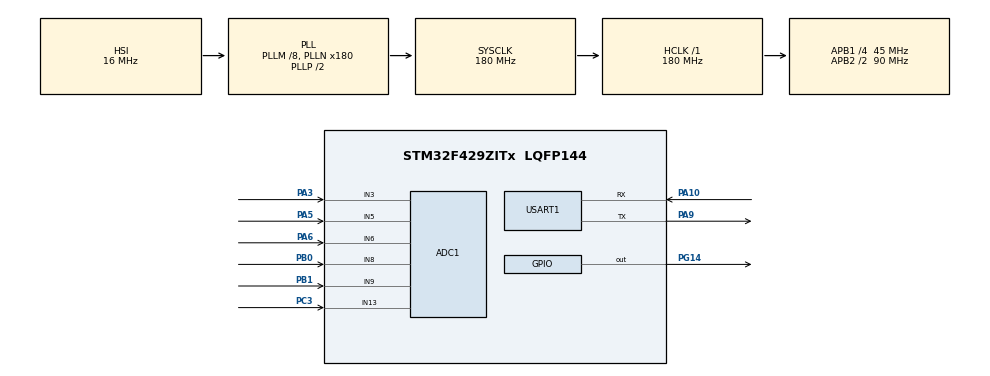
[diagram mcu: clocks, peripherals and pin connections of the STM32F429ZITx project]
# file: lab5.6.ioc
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ADC1.Channel-4\#ChannelRegularConversion=ADC_CHANNEL_8
ADC1.Channel-5\#ChannelRegularConversion=ADC_CHANNEL_9
ADC1.Channel-6\#ChannelRegularConversion=ADC_CHANNEL_6
ADC1.Channel-7\#ChannelRegularConversion=ADC_CHANNEL_5
ADC1.Channel-8\#ChannelRegularConversion=ADC_CHANNEL_3
ADC1.Channel-9\#ChannelRegularConversion=ADC_CHANNEL_13
ADC1.ClockPrescaler=ADC_CLOCK_SYNC_PCLK_DIV8
ADC1.ContinuousConvMode=DISABLE
ADC1.DMAContinuousRequests=ENABLE
ADC1.NbrOfConversion=6
ADC1.NbrOfConversionFlag=1
ADC1.Rank-4\#ChannelRegularConversion=1
ADC1.Rank-5\#ChannelRegularConversion=2
ADC1.Rank-6\#ChannelRegularConversion=3
ADC1.Rank-7\#ChannelRegularConversion=4
ADC1.Rank-8\#ChannelRegularConversion=5
ADC1.Rank-9\#ChannelRegularConversion=6
ADC1.SamplingTime-4\#ChannelRegularConversion=ADC_SAMPLETIME_15CYCLES
ADC1.SamplingTime-5\#ChannelRegularConversion=ADC_SAMPLETIME_15CYCLES
ADC1.SamplingTime-6\#ChannelRegularConversion=ADC_SAMPLETIME_15CYCLES
ADC1.SamplingTime-7\#ChannelRegularConversion=ADC_SAMPLETIME_15CYCLES
ADC1.SamplingTime-8\#ChannelRegularConversion=ADC_SAMPLETIME_15CYCLES
ADC1.SamplingTime-9\#ChannelRegularConversion=ADC_SAMPLETIME_15CYCLES
ADC1.master=1
Dma.ADC1.0.Direction=DMA_PERIPH_TO_MEMORY
Dma.ADC1.0.FIFOMode=DMA_FIFOMODE_DISABLE
Dma.ADC1.0.Instance=DMA2_Stream0
Dma.ADC1.0.MemDataAlignment=DMA_MDATAALIGN_WORD
Dma.ADC1.0.MemInc=DMA_MINC_ENABLE
Dma.ADC1.0.Mode=DMA_CIRCULAR
Dma.ADC1.0.PeriphDataAlignment=DMA_PDATAALIGN_WORD
Dma.ADC1.0.PeriphInc=DMA_PINC_DISABLE
Dma.ADC1.0.Priority=DMA_PRIORITY_LOW
Dma.Request0=ADC1
Mcu.Family=STM32F4
Mcu.Name=STM32F429ZITx
Mcu.Package=LQFP144
NVIC.DMA2_Stream0_IRQn=true\:1\:0\:true\:false\:true\:false\:true
NVIC.PriorityGroup=NVIC_PRIORITYGROUP_2
PA10.Mode=Asynchronous
PA10.Signal=USART1_RX
PA3.Signal=ADCx_IN3
PA5.Signal=ADCx_IN5
PA6.Signal=ADCx_IN6
PA9.Mode=Asynchronous
PA9.Signal=USART1_TX
PB0.Signal=ADCx_IN8
PB1.Signal=ADCx_IN9
PC3.Signal=ADCx_IN13
PG14.Signal=GPIO_Output
ProjectManager.HeapSize=0x200
ProjectManager.StackSize=0x400
ProjectManager.TargetToolchain=STM32CubeIDE
RCC.48MHZClocksFreq_Value=90000000
RCC.AHBFreq_Value=180000000
RCC.APB1CLKDivider=RCC_HCLK_DIV4
RCC.APB1Freq_Value=45000000
RCC.APB1TimFreq_Value=90000000
RCC.APB2CLKDivider=RCC_HCLK_DIV2
RCC.APB2Freq_Value=90000000
RCC.APB2TimFreq_Value=180000000
RCC.CortexFreq_Value=180000000
RCC.HCLKFreq_Value=180000000
RCC.HSE_VALUE=25000000
RCC.HSI_VALUE=16000000
RCC.LSE_VALUE=32768
RCC.PLLM=8
RCC.PLLN=180
RCC.SYSCLKFreq_VALUE=180000000
RCC.SYSCLKSource=RCC_SYSCLKSOURCE_PLLCLK
RCC.VCOOutputFreq_Value=360000000
SH.ADCx_IN13.0=ADC1_IN13,IN13
SH.ADCx_IN3.0=ADC1_IN3,IN3
SH.ADCx_IN5.0=ADC1_IN5,IN5
SH.ADCx_IN6.0=ADC1_IN6,IN6
SH.ADCx_IN8.0=ADC1_IN8,IN8
SH.ADCx_IN9.0=ADC1_IN9,IN9
USART1.VirtualMode=VM_ASYNC
board=custom

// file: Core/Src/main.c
/* USER CODE BEGIN Header */
/**
  ******************************************************************************
  * @file           : main.c
  * @brief          : Main program body
  ******************************************************************************
  * @attention
  *
  * <h2><center>&copy; Copyright (c) 2021 STMicroelectronics.
  * All rights reserved.</center></h2>
  *
  * This software component is licensed by ST under BSD 3-Clause license,
  * the "License"; You may not use this file except in compliance with the
  * License. You may obtain a copy of the License at:
  *                        opensource.org/licenses/BSD-3-Clause
  *
  ******************************************************************************
  */
/* USER CODE END Header */
#include "main.h"
#include "adc.h"
#include "dma.h"
#include "usart.h"
#include "gpio.h"

/* USER CODE BEGIN PV */
uint32_t  adc_val[6];
/* USER CODE END PV */

void SystemClock_Config(void);

int main(void)
{

  /* MCU Configuration--------------------------------------------------------*/

  /* Reset of all peripherals, Initializes the Flash interface and the Systick. */
  HAL_Init();

  /* Configure the system clock */
  SystemClock_Config();

  /* Initialize all configured peripherals */
  MX_GPIO_Init();
  MX_DMA_Init();
  MX_ADC1_Init();
  MX_USART1_UART_Init();

  /* Infinite loop */
  while (1)
  {

    /* USER CODE BEGIN 3 */
	  //while (HAL_ADC_PollForConversion(&hadc1, 100) != HAL_OK){}
	  HAL_ADC_Start_DMA(&hadc1, adc_val, 6);
	  displayHEX(adc_val);
	  HAL_Delay(1000);

  }
  /* USER CODE END 3 */
}

void SystemClock_Config(void)
{
  RCC_OscInitTypeDef RCC_OscInitStruct = {0};
  RCC_ClkInitTypeDef RCC_ClkInitStruct = {0};

  /** Configure the main internal regulator output voltage
  */
  __HAL_RCC_PWR_CLK_ENABLE();
  __HAL_PWR_VOLTAGESCALING_CONFIG(PWR_REGULATOR_VOLTAGE_SCALE1);
  /** Initializes the RCC Oscillators according to the specified parameters
  * in the RCC_OscInitTypeDef structure.
  */
  RCC_OscInitStruct.OscillatorType = RCC_OSCILLATORTYPE_HSI;
  RCC_OscInitStruct.HSIState = RCC_HSI_ON;
  RCC_OscInitStruct.HSICalibrationValue = RCC_HSICALIBRATION_DEFAULT;
  RCC_OscInitStruct.PLL.PLLState = RCC_PLL_ON;
  RCC_OscInitStruct.PLL.PLLSource = RCC_PLLSOURCE_HSI;
  RCC_OscInitStruct.PLL.PLLM = 8;
  RCC_OscInitStruct.PLL.PLLN = 180;
  RCC_OscInitStruct.PLL.PLLP = RCC_PLLP_DIV2;
  RCC_OscInitStruct.PLL.PLLQ = 4;
  if (HAL_RCC_OscConfig(&RCC_OscInitStruct) != HAL_OK)
  {
    Error_Handler();
  }
  /** Activate the Over-Drive mode
  */
  if (HAL_PWREx_EnableOverDrive() != HAL_OK)
  {
    Error_Handler();
  }
  /** Initializes the CPU, AHB and APB buses clocks
  */
  RCC_ClkInitStruct.ClockType = RCC_CLOCKTYPE_HCLK|RCC_CLOCKTYPE_SYSCLK
                              |RCC_CLOCKTYPE_PCLK1|RCC_CLOCKTYPE_PCLK2;
  RCC_ClkInitStruct.SYSCLKSource = RCC_SYSCLKSOURCE_PLLCLK;
  RCC_ClkInitStruct.AHBCLKDivider = RCC_SYSCLK_DIV1;
  RCC_ClkInitStruct.APB1CLKDivider = RCC_HCLK_DIV4;
  RCC_ClkInitStruct.APB2CLKDivider = RCC_HCLK_DIV2;

  if (HAL_RCC_ClockConfig(&RCC_ClkInitStruct, FLASH_LATENCY_5) != HAL_OK)
  {
    Error_Handler();
  }
}

/* USER CODE BEGIN 4 */
void HAL_ADC_ConvHalfCpltCallback(ADC_HandleTypeDef *hadc){
	HAL_GPIO_WritePin(GPIOG, GPIO_PIN_14, GPIO_PIN_SET);
	HAL_Delay(100);

//	HAL_UART_Transmit(&huart1, (uint32_t*) "HalfCpltCallback\r\n", 20, 1000);
}
void HAL_ADC_ConvCpltCallback(ADC_HandleTypeDef *hadc){
//	HAL_UART_Transmit(&huart1, (uint32_t*) "ConvCpltCallback\r\n", 20, 1000);
	HAL_GPIO_WritePin(GPIOG, GPIO_PIN_14, GPIO_PIN_RESET);
//	HAL_Delay(100);
}
void displayHEX(uint32_t in_val[])
{
	char sd1[80];
	char sd2[80];
	char sd3[80];
	char sd4[80];
	char sd5[80];
	char sd6[80];
	float out1 = 3.3*(in_val[0]/4095.0f);
	float out2 = 3.3*(in_val[1]/4095.0f);
	float out3 = 3.3*(in_val[2]/4095.0f);
	float out4 = 3.3*(in_val[3]/4095.0f);
	float out5 = 3.3*(in_val[4]/4095.0f);
	float out6 = 3.3*(in_val[5]/4095.0f);
    sprintf(sd1, "ADC1_CH9 0x%08X Vin = %.2f V \r\n", in_val[0] , out1);
	HAL_UART_Transmit(&huart1, (uint32_t*) sd1, strlen(sd1), 1000);
	//HAL_Delay(300);
	sprintf(sd2, "ADC1_CH8 0x%08X Vin = %.2f V \r\n", in_val[1] , out2);
	HAL_UART_Transmit(&huart1, (uint32_t*) sd2, strlen(sd2), 1000);
	//HAL_Delay(300);
	sprintf(sd3, "ADC1_CH6 0x%08X Vin = %.2f V \r\n", in_val[2] , out3);
	HAL_UART_Transmit(&huart1, (uint32_t*) sd3, strlen(sd3), 1000);
	//HAL_Delay(300);
	sprintf(sd4, "ADC1_CH5 0x%08X Vin = %.2f V \r\n", in_val[3] , out4);
	HAL_UART_Transmit(&huart1, (uint32_t*) sd4, strlen(sd4), 1000);
	//HAL_Delay(300);
	sprintf(sd5, "ADC1_CH3 0x%08X Vin = %.2f V \r\n", in_val[4] , out5);
	HAL_UART_Transmit(&huart1, (uint32_t*) sd5, strlen(sd5), 1000);
	//HAL_Delay(300);
	sprintf(sd6, "ADC1_CH13 0x%08X Vin = %.2f V \r\n", in_val[5] , out6);
	HAL_UART_Transmit(&huart1, (uint32_t*) sd6, strlen(sd6), 1000);
	HAL_UART_Transmit(&huart1, (uint32_t*) "\r\n", 4 , 1000);
	HAL_Delay(300);
}

/* USER CODE END 4 */

void Error_Handler(void)
{
  __disable_irq();
  while (1)
  {
  }
}

/************************ (C) COPYRIGHT STMicroelectronics *****END OF FILE****/
